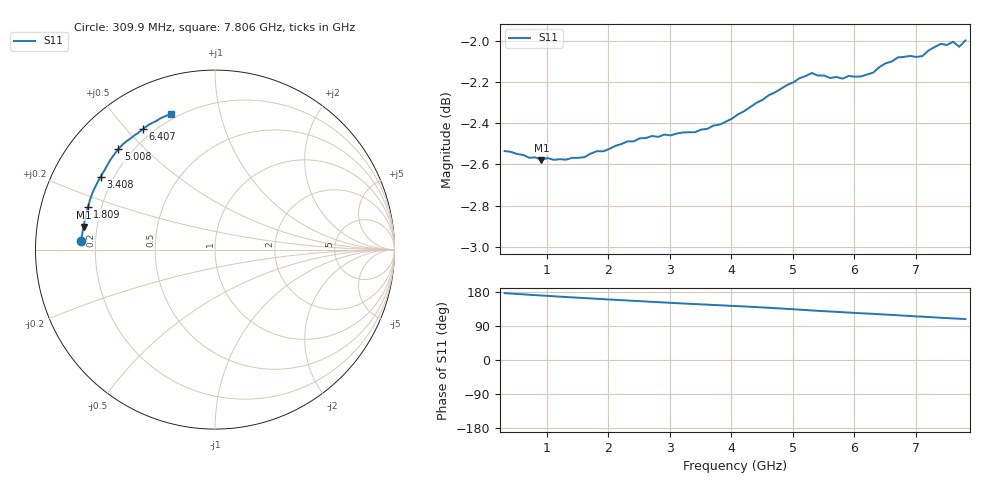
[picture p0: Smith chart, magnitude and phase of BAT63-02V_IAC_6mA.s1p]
! Infineon Technologies  Discrete & RF Semiconductors
! BAT63-02V
! IAC = 6 mA
! One-Port S-Parameters
# Hz  S  MA  R  50
!f  S11
!Hz  Mag  Ang
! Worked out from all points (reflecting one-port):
!   76 points, 309.9 MHz to 7.806 GHz, reference 50 ohm
!   lowest |S11| = -2.6 dB at 909.5 MHz (marker M1), VSWR 6.79, Z = 7.42 + j4.2 ohm
!   phase of S11 starts at 176 deg and turns -68 deg over the sweep
!   S11 on the Smith chart (normalised r, x): 309.9 MHz: 0.15, +0.03; 1.809 GHz: 0.15, +0.16; 3.408 GHz: 0.15, +0.28; 5.008 GHz: 0.15, +0.42; 6.407 GHz: 0.16, +0.56; 7.806 GHz: 0.17, +0.71
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3.0985e8  0.7469 176.4
9.0955e8  0.7432 170.2
1.30935e9  0.7433 166.3
1.8091e9  0.7469 161.5
1.90905e9  0.7468 160.8
2.009e9  0.7478 159.5
2.10895e9  0.749 158.9
2.2089e9  0.7498 157.8
2.30885e9  0.7509 157.2
2.50875e9  0.7523 155.3
3.2084e9  0.7547 149.2
3.4083e9  0.7548 147.5
4.10795e9  0.7624 142.1
4.4078e9  0.7673 139.7
4.6077e9  0.7706 137.8
5.0075e9  0.7762 133.9
5.10745e9  0.778 132.8
5.4073e9  0.7791 129.7
6.007e9  0.7786 124.3
6.4068e9  0.7828 120.8
6.70665e9  0.7871 118.1
6.90655e9  0.7877 116.2
7.0065e9  0.7873 115.0
7.10645e9  0.7877 114.4
7.2064e9  0.7902 113.3
7.30635e9  0.7917 112.6
7.4063e9  0.7931 111.4
7.8061e9  0.7946 108.1
